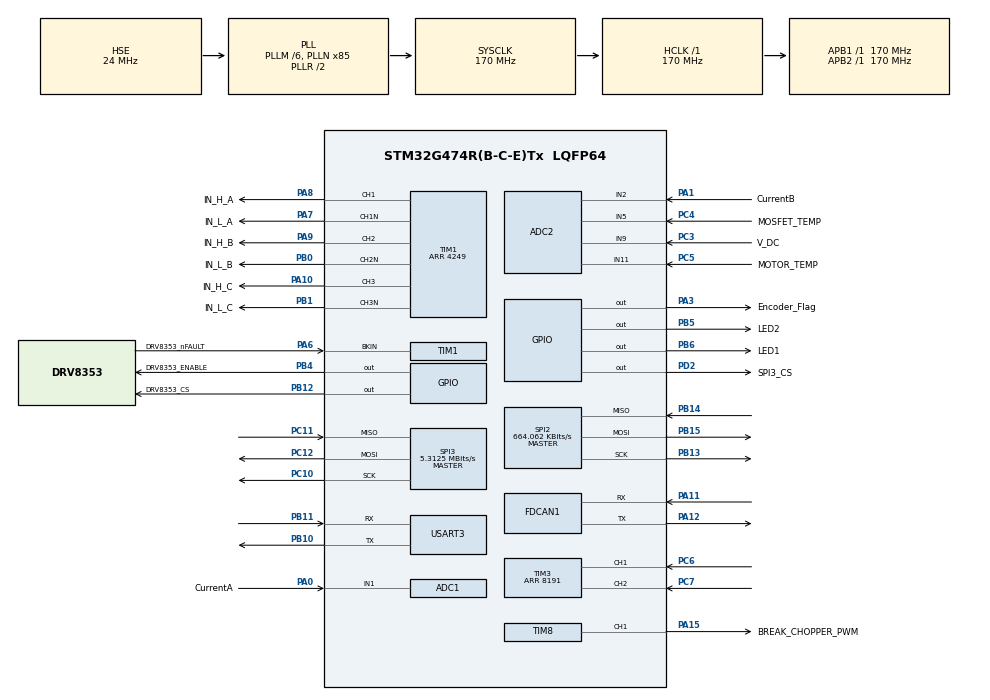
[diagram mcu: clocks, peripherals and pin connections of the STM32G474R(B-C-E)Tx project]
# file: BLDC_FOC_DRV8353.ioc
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ADC1.Channel-6\#ChannelRegularConversion=ADC_CHANNEL_VREFINT
ADC1.ClockPrescaler=ADC_CLOCK_ASYNC_DIV1
ADC1.DMAAccessModeView=DISABLED
ADC1.EnableInjectedConversion=ENABLE
ADC1.EnableRegularConversion=ENABLE
ADC1.ExternalTrigInjecConv=ADC_EXTERNALTRIGINJEC_T1_CC4
ADC1.InjNumberOfConversion=1
ADC1.InjectedChannel-3\#ChannelInjectedConversion=ADC_CHANNEL_1
ADC1.InjectedOffsetNumber-3\#ChannelInjectedConversion=ADC_OFFSET_NONE
ADC1.InjectedRank-3\#ChannelInjectedConversion=1
ADC1.InjectedSamplingTime-3\#ChannelInjectedConversion=ADC_SAMPLETIME_24CYCLES_5
ADC1.Mode=ADC_DUALMODE_INJECSIMULT
ADC1.NbrOfConversion=1
ADC1.NbrOfConversionFlag=1
ADC1.OffsetNumber-6\#ChannelRegularConversion=ADC_OFFSET_NONE
ADC1.Rank-6\#ChannelRegularConversion=1
ADC1.SamplingTime-6\#ChannelRegularConversion=ADC_SAMPLETIME_640CYCLES_5
ADC1.master=1
ADC2.Channel-0\#ChannelRegularConversion=ADC_CHANNEL_9
ADC2.Channel-2\#ChannelRegularConversion=ADC_CHANNEL_5
ADC2.Channel-3\#ChannelRegularConversion=ADC_CHANNEL_11
ADC2.ClockPrescaler=ADC_CLOCK_ASYNC_DIV1
ADC2.DMAAccessModeView=DISABLED
ADC2.DMAContinuousRequests=ENABLE
ADC2.EOCSelection=ADC_EOC_SEQ_CONV
ADC2.EnableInjectedConversion=ENABLE
ADC2.InjNumberOfConversion=1
ADC2.InjectedChannel-1\#ChannelInjectedConversion=ADC_CHANNEL_2
ADC2.InjectedOffsetNumber-1\#ChannelInjectedConversion=ADC_OFFSET_NONE
ADC2.InjectedRank-1\#ChannelInjectedConversion=1
ADC2.InjectedSamplingTime-1\#ChannelInjectedConversion=ADC_SAMPLETIME_24CYCLES_5
ADC2.Mode=ADC_DUALMODE_INJECSIMULT
ADC2.NbrOfConversion=3
ADC2.NbrOfConversionFlag=1
ADC2.OffsetNumber-0\#ChannelRegularConversion=ADC_OFFSET_NONE
ADC2.OffsetNumber-2\#ChannelRegularConversion=ADC_OFFSET_NONE
ADC2.OffsetNumber-3\#ChannelRegularConversion=ADC_OFFSET_NONE
ADC2.Rank-0\#ChannelRegularConversion=1
ADC2.Rank-2\#ChannelRegularConversion=2
ADC2.Rank-3\#ChannelRegularConversion=3
ADC2.SamplingTime-0\#ChannelRegularConversion=ADC_SAMPLETIME_24CYCLES_5
ADC2.SamplingTime-2\#ChannelRegularConversion=ADC_SAMPLETIME_24CYCLES_5
ADC2.SamplingTime-3\#ChannelRegularConversion=ADC_SAMPLETIME_24CYCLES_5
Dma.ADC2.2.Direction=DMA_PERIPH_TO_MEMORY
Dma.ADC2.2.EventEnable=DISABLE
Dma.ADC2.2.Instance=DMA1_Channel3
Dma.ADC2.2.MemDataAlignment=DMA_MDATAALIGN_HALFWORD
Dma.ADC2.2.MemInc=DMA_MINC_ENABLE
Dma.ADC2.2.Mode=DMA_CIRCULAR
Dma.ADC2.2.PeriphDataAlignment=DMA_PDATAALIGN_HALFWORD
Dma.ADC2.2.PeriphInc=DMA_PINC_DISABLE
Dma.ADC2.2.Polarity=HAL_DMAMUX_REQ_GEN_RISING
Dma.ADC2.2.Priority=DMA_PRIORITY_LOW
Dma.ADC2.2.RequestNumber=1
Dma.ADC2.2.SignalID=NONE
Dma.ADC2.2.SyncEnable=DISABLE
Dma.ADC2.2.SyncPolarity=HAL_DMAMUX_SYNC_NO_EVENT
Dma.ADC2.2.SyncRequestNumber=1
Dma.ADC2.2.SyncSignalID=NONE
Dma.Request0=SPI3_TX
Dma.Request1=SPI3_RX
Dma.Request2=ADC2
Dma.SPI3_RX.1.Direction=DMA_PERIPH_TO_MEMORY
Dma.SPI3_RX.1.EventEnable=DISABLE
Dma.SPI3_RX.1.Instance=DMA1_Channel2
Dma.SPI3_RX.1.MemDataAlignment=DMA_MDATAALIGN_BYTE
Dma.SPI3_RX.1.MemInc=DMA_MINC_ENABLE
Dma.SPI3_RX.1.Mode=DMA_NORMAL
Dma.SPI3_RX.1.PeriphDataAlignment=DMA_PDATAALIGN_BYTE
Dma.SPI3_RX.1.PeriphInc=DMA_PINC_DISABLE
Dma.SPI3_RX.1.Polarity=HAL_DMAMUX_REQ_GEN_RISING
Dma.SPI3_RX.1.Priority=DMA_PRIORITY_MEDIUM
Dma.SPI3_RX.1.RequestNumber=1
Dma.SPI3_RX.1.SignalID=NONE
Dma.SPI3_RX.1.SyncEnable=DISABLE
Dma.SPI3_RX.1.SyncPolarity=HAL_DMAMUX_SYNC_NO_EVENT
Dma.SPI3_RX.1.SyncRequestNumber=1
Dma.SPI3_RX.1.SyncSignalID=NONE
Dma.SPI3_TX.0.Direction=DMA_MEMORY_TO_PERIPH
Dma.SPI3_TX.0.EventEnable=DISABLE
Dma.SPI3_TX.0.Instance=DMA1_Channel1
Dma.SPI3_TX.0.MemDataAlignment=DMA_MDATAALIGN_BYTE
Dma.SPI3_TX.0.MemInc=DMA_MINC_ENABLE
Dma.SPI3_TX.0.Mode=DMA_NORMAL
Dma.SPI3_TX.0.PeriphDataAlignment=DMA_PDATAALIGN_BYTE
Dma.SPI3_TX.0.PeriphInc=DMA_PINC_DISABLE
Dma.SPI3_TX.0.Polarity=HAL_DMAMUX_REQ_GEN_RISING
Dma.SPI3_TX.0.Priority=DMA_PRIORITY_MEDIUM
Dma.SPI3_TX.0.RequestNumber=1
Dma.SPI3_TX.0.SignalID=NONE
Dma.SPI3_TX.0.SyncEnable=DISABLE
Dma.SPI3_TX.0.SyncPolarity=HAL_DMAMUX_SYNC_NO_EVENT
Dma.SPI3_TX.0.SyncRequestNumber=1
Dma.SPI3_TX.0.SyncSignalID=NONE
FDCAN1.CalculateBaudRateNominal=500000
FDCAN1.CalculateTimeBitNominal=2000
FDCAN1.CalculateTimeQuantumNominal=100.0
FDCAN1.NominalPrescaler=17
FDCAN1.NominalTimeSeg1=17
FDCAN1.NominalTimeSeg2=2
Mcu.Family=STM32G4
Mcu.Name=STM32G474R(B-C-E)Tx
Mcu.Package=LQFP64
NVIC.ADC1_2_IRQn=true\:0\:0\:true\:false\:true\:true\:true\:true
NVIC.DMA1_Channel1_IRQn=true\:1\:0\:true\:false\:true\:false\:true\:true
NVIC.DMA1_Channel2_IRQn=true\:1\:0\:true\:false\:true\:false\:true\:true
NVIC.DMA1_Channel3_IRQn=true\:4\:0\:true\:false\:true\:false\:true\:true
NVIC.FDCAN1_IT0_IRQn=true\:6\:0\:true\:false\:true\:true\:true\:true
NVIC.PriorityGroup=NVIC_PRIORITYGROUP_4
NVIC.TIM1_BRK_TIM15_IRQn=true\:0\:0\:false\:false\:true\:true\:true\:true
NVIC.TIM2_IRQn=true\:3\:0\:true\:false\:true\:true\:true\:true
NVIC.TIM4_IRQn=true\:4\:0\:true\:false\:true\:true\:true\:true
NVIC.TIM5_IRQn=true\:5\:0\:true\:false\:true\:true\:true\:true
NVIC.TIM8_UP_IRQn=true\:5\:0\:true\:false\:true\:true\:true\:true
NVIC.USART3_IRQn=true\:3\:0\:true\:false\:true\:true\:true\:true
PA0.GPIO_Label=CurrentA
PA0.Mode=IN1-Single-Ended
PA0.Signal=ADC1_IN1
PA1.GPIO_Label=CurrentB
PA1.Mode=IN2-Single-Ended
PA1.Signal=ADC2_IN2
PA10.GPIO_Label=IN_H_C
PA10.Signal=S_TIM1_CH3
PA11.Mode=FDCAN_Activate
PA11.Signal=FDCAN1_RX
PA12.Mode=FDCAN_Activate
PA12.Signal=FDCAN1_TX
PA13.Mode=Trace_Asynchronous_SW
PA13.Signal=SYS_JTMS-SWDIO
PA14.Mode=Trace_Asynchronous_SW
PA14.Signal=SYS_JTCK-SWCLK
PA15.GPIO_Label=BREAK_CHOPPER_PWM
PA15.Signal=S_TIM8_CH1
PA3.GPIO_Label=Encoder_Flag
PA3.Signal=GPIO_Output
PA6.GPIO_Label=DRV8353_nFAULT
PA6.Mode=Activate-Break-Input
PA6.Signal=TIM1_BKIN
PA7.GPIO_Label=IN_L_A
PA7.Mode=PWM Generation1 CH1 CH1N
PA7.Signal=TIM1_CH1N
PA8.GPIO_Label=IN_H_A
PA8.Signal=S_TIM1_CH1
PA9.GPIO_Label=IN_H_B
PA9.Signal=S_TIM1_CH2
PB0.GPIO_Label=IN_L_B
PB0.Mode=PWM Generation2 CH2 CH2N
PB0.Signal=TIM1_CH2N
PB1.GPIO_Label=IN_L_C
PB1.Mode=PWM Generation3 CH3 CH3N
PB1.Signal=TIM1_CH3N
PB10.Mode=Asynchronous
PB10.Signal=USART3_TX
PB11.Mode=Asynchronous
PB11.Signal=USART3_RX
PB12.GPIO_Label=DRV8353_CS
PB12.PinState=GPIO_PIN_SET
PB12.Signal=GPIO_Output
PB13.Mode=Full_Duplex_Master
PB13.Signal=SPI2_SCK
PB14.Mode=Full_Duplex_Master
PB14.Signal=SPI2_MISO
PB15.Mode=Full_Duplex_Master
PB15.Signal=SPI2_MOSI
PB3.Mode=Trace_Asynchronous_SW
PB3.Signal=SYS_JTDO-SWO
PB4.GPIO_Label=DRV8353_ENABLE
PB4.Signal=GPIO_Output
PB5.GPIO_Label=LED2
PB5.Signal=GPIO_Output
PB6.GPIO_Label=LED1
PB6.Signal=GPIO_Output
PC10.Mode=Full_Duplex_Master
PC10.Signal=SPI3_SCK
PC11.Mode=Full_Duplex_Master
PC11.Signal=SPI3_MISO
PC12.Mode=Full_Duplex_Master
PC12.Signal=SPI3_MOSI
PC3.GPIO_Label=V_DC
PC3.Mode=IN9-Single-Ended
PC3.Signal=ADC2_IN9
PC4.GPIO_Label=MOSFET_TEMP
PC4.Mode=IN5-Single-Ended
PC4.Signal=ADC2_IN5
PC5.GPIO_Label=MOTOR_TEMP
PC5.Mode=IN11-Single-Ended
PC5.Signal=ADC2_IN11
PC6.Signal=S_TIM3_CH1
PC7.Signal=S_TIM3_CH2
PD2.GPIO_Label=SPI3_CS
PD2.Signal=GPIO_Output
PF0-OSC_IN.Mode=HSE-External-Oscillator
PF0-OSC_IN.Signal=RCC_OSC_IN
PF1-OSC_OUT.Mode=HSE-External-Oscillator
PF1-OSC_OUT.Signal=RCC_OSC_OUT
ProjectManager.HeapSize=0x200
ProjectManager.StackSize=0x400
ProjectManager.TargetToolchain=CMake
RCC.ADC12CLockSelection=RCC_ADC12CLKSOURCE_PLL
RCC.ADC12Freq_Value=42500000
RCC.ADC345Freq_Value=170000000
RCC.AHBFreq_Value=170000000
RCC.APB1Freq_Value=170000000
RCC.APB1TimFreq_Value=170000000
RCC.APB2Freq_Value=170000000
RCC.APB2TimFreq_Value=170000000
RCC.CortexFreq_Value=170000000
RCC.EXTERNAL_CLOCK_VALUE=12288000
RCC.HCLKFreq_Value=170000000
RCC.HSE_VALUE=24000000
RCC.HSI48_VALUE=48000000
RCC.HSI_VALUE=16000000
RCC.LSE_VALUE=32768
RCC.PLLM=RCC_PLLM_DIV6
RCC.PLLN=85
RCC.PLLP=RCC_PLLP_DIV8
RCC.PLLSourceVirtual=RCC_PLLSOURCE_HSE
RCC.SYSCLKFreq_VALUE=170000000
RCC.SYSCLKSource=RCC_SYSCLKSOURCE_PLLCLK
RCC.USBFreq_Value=170000000
RCC.VCOOutputFreq_Value=340000000
SH.S_TIM1_CH1.0=TIM1_CH1,PWM Generation1 CH1 CH1N
SH.S_TIM1_CH2.0=TIM1_CH2,PWM Generation2 CH2 CH2N
SH.S_TIM1_CH3.0=TIM1_CH3,PWM Generation3 CH3 CH3N
SH.S_TIM3_CH1.0=TIM3_CH1,Encoder_Interface
SH.S_TIM3_CH2.0=TIM3_CH2,Encoder_Interface
SH.S_TIM8_CH1.0=TIM8_CH1,PWM Generation1 CH1
SPI2.BaudRatePrescaler=SPI_BAUDRATEPRESCALER_256
SPI2.CLKPhase=SPI_PHASE_2EDGE
SPI2.CalculateBaudRate=664.062 KBits/s
SPI2.DataSize=SPI_DATASIZE_16BIT
SPI2.Direction=SPI_DIRECTION_2LINES
SPI2.Mode=SPI_MODE_MASTER
SPI2.VirtualType=VM_MASTER
SPI3.BaudRatePrescaler=SPI_BAUDRATEPRESCALER_32
SPI3.CLKPhase=SPI_PHASE_2EDGE
SPI3.CalculateBaudRate=5.3125 MBits/s
SPI3.DataSize=SPI_DATASIZE_8BIT
SPI3.Direction=SPI_DIRECTION_2LINES
SPI3.Mode=SPI_MODE_MASTER
SPI3.VirtualType=VM_MASTER
TIM1.AutomaticOutput=TIM_AUTOMATICOUTPUT_DISABLE
TIM1.BreakFilter=3
TIM1.BreakPolarity=TIM_BREAKPOLARITY_HIGH
TIM1.BreakState=TIM_BREAK_ENABLE
TIM1.Channel-PWM\ Generation1\ CH1\ CH1N=TIM_CHANNEL_1
TIM1.Channel-PWM\ Generation2\ CH2\ CH2N=TIM_CHANNEL_2
TIM1.Channel-PWM\ Generation3\ CH3\ CH3N=TIM_CHANNEL_3
TIM1.Channel-PWM\ Generation4\ No\ Output=TIM_CHANNEL_4
TIM1.CounterMode=TIM_COUNTERMODE_CENTERALIGNED2
TIM1.DeadTime=34
TIM1.LockLevel=TIM_LOCKLEVEL_OFF
TIM1.OCMode_PWM-PWM\ Generation4\ No\ Output=TIM_OCMODE_PWM2
TIM1.OffStateIDLEMode=TIM_OSSI_DISABLE
TIM1.PeriodNoDither=4249
TIM1.PulseNoDither_1=0
TIM1.PulseNoDither_2=0
TIM1.PulseNoDither_3=0
TIM1.PulseNoDither_4=4100
TIM1.SourceBRKDigInputPolarity=TIM_BREAKINPUTSOURCE_POLARITY_LOW
TIM1.TIM_MasterOutputTrigger=TIM_TRGO_UPDATE
TIM1.TIM_MasterOutputTrigger2=TIM_TRGO2_OC4REF
TIM1.TIM_MasterSlaveMode=TIM_MASTERSLAVEMODE_DISABLE
TIM2.PeriodNoDither=39
TIM3.EncoderMode=TIM_ENCODERMODE_TI12
TIM3.IC1Filter=3
TIM3.IC2Filter=3
TIM3.PeriodNoDither=8191
TIM4.AutoReloadPreload=TIM_AUTORELOAD_PRELOAD_ENABLE
TIM4.PeriodNoDither=9999
TIM4.Prescaler=169
TIM5.PeriodNoDither=199
TIM8.Channel-PWM\ Generation1\ CH1=TIM_CHANNEL_1
TIM8.PeriodNoDither=39
USART3.VirtualMode-Asynchronous=VM_ASYNC
VP_ADC1_Vref_Input.Mode=IN-Vrefint
VP_SYS_VS_DBSignals.Mode=DisableDeadBatterySignals
VP_TIM1_VS_ClockSourceINT.Mode=Internal
VP_TIM1_VS_no_output4.Mode=PWM Generation4 No Output
VP_TIM2_VS_ClockSourceITR.Mode=TriggerSource_ITR0
VP_TIM2_VS_ControllerModeClock.Mode=Clock Mode
VP_TIM4_VS_ClockSourceINT.Mode=Internal
VP_TIM5_VS_ClockSourceITR.Mode=TriggerSource_ITR0
VP_TIM5_VS_ControllerModeClock.Mode=Clock Mode
VP_TIM8_VS_ClockSourceITR.Mode=TriggerSource_ITR0
VP_TIM8_VS_ControllerModeClock.Mode=Clock Mode
board=custom

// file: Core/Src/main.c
/* USER CODE BEGIN Header */
/**
  ******************************************************************************
  * @file           : main.c
  * @brief          : Main program body
  ******************************************************************************
  * @attention
  *
  * Copyright (c) 2026 STMicroelectronics.
  * All rights reserved.
  *
  * This software is licensed under terms that can be found in the LICENSE file
  * in the root directory of this software component.
  * If no LICENSE file comes with this software, it is provided AS-IS.
  *
  ******************************************************************************
  */
/* USER CODE END Header */
#include "main.h"
#include "adc.h"
#include "dma.h"
#include "fdcan.h"
#include "spi.h"
#include "tim.h"
#include "usart.h"
#include "gpio.h"

/* USER CODE BEGIN Includes */
#include "commander.h"
#include "motor_control.h"
#include "board.h"
#include "powerstage.h"
#include "motor_control_faults.h"

#if defined(USE_CAN_INTERFACE)

  #include "can_interface.h"

#endif

#if defined(TEST_MODE)

  #include "motor_alignment.h"
  #include "stdio.h"

#endif

// #include "encoder_incremental.h"
// #include "math_consts.h"

// #ifndef __FAST_MATH__
//   #error "FAST_MATH must be enabled in the project settings"
// #endif

/* USER CODE END Includes */

/* USER CODE BEGIN PV */

#if defined(USE_CAN_INTERFACE)

  extern volatile bool g_can_heartbeat_flag;
  extern volatile bool g_can_telemetry_flag;
  extern volatile bool g_can_cmd_received_flag;

#endif

#if defined(USE_CMD_INTERFACE)

  extern volatile bool g_cmd_flag;

#endif

BoardHandleTypeDef board = {
  .type                 = BOARD_DRV8353,
  .powerstage.pwm_mode  = POWERSTAGE_PWM_MODE_3PWM,
  .htim_pwm             = &htim1,
  .htim_speed           = &htim2,
  .htim_enc             = &htim3,
  .htim_slow_loop       = &htim4,
  .htim_pos             = &htim5,
  .hadc_currA           = (ADC_InjectedChannel_t){.hadc = &hadc1, .rank = ADC_INJECTED_RANK_1},
  .hadc_currB           = (ADC_InjectedChannel_t){.hadc = &hadc2, .rank = ADC_INJECTED_RANK_2},
  .hadc_vdc             = &hadc2,
  .hspi_drv             = &hspi2,
  .hspi_enc             = &hspi3,
  .huart_com            = &huart3,
  .htim_brake_chopper   = &htim8,
  .encoder_type         = ENCODER_INCREMENTAL,
};

#if defined(USE_CAN_INTERFACE)

  static CAN_Slave_Callbacks_t can_callbacks =
  {
      .start = MotorControl_Start,
      .stop = MotorControl_Stop,

      .set_speed = MotorControl_SetSpeed,
      .set_torque = MotorControl_SetTorque_Iq,

      .reboot = MotorControl_Reboot,

      .get_heartbeat = MotorControl_GetCANHeartbeat,
      .get_telemetry = MotorControl_GetCANTelemetry,

      .clear_faults = MotorControl_ClearFaults,

      .get_faults = MotorControl_GetCurrentFaults,

      .set_speed_limit = MotorControl_SetSpeedLimit,
      .set_torque_limit_A = MotorControl_SetTorqueLimit_A,
      .set_torque_limit_Nm = MotorControl_SetTorqueLimit_Nm,

      .set_watchdog_timeout = MotorControl_SetWatchdog
  };

#endif

#if defined(TEST_MODE)

  volatile uint32_t debug_enc_raw_cnt = 0;
  volatile float debug_mech_angle_rad = 0.0f;
  volatile float debug_mech_angle_deg = 0.0f;

  int fault_read_cnt = 0;

#endif

// TEST END

/* USER CODE END PV */

void SystemClock_Config(void);

/* USER CODE BEGIN 0 */

int _write(int file, char *ptr, int len)
{
    uint8_t cr = '\r';
    for (int i = 0; i < len; i++)
    {
        if (ptr[i] == '\n'){
          HAL_UART_Transmit(&huart3, &cr, 1, HAL_MAX_DELAY);
          // ITM_SendChar('\r');
        }
        // ITM_SendChar(ptr[i]);
        HAL_UART_Transmit(&huart3, (uint8_t *)&ptr[i], 1, HAL_MAX_DELAY);
    }
    return len;
}

/* USER CODE END 0 */

int main(void)
{

  /* MCU Configuration--------------------------------------------------------*/

  /* Reset of all peripherals, Initializes the Flash interface and the Systick. */
  HAL_Init();

  /* Configure the system clock */
  SystemClock_Config();

  /* Initialize all configured peripherals */
  MX_GPIO_Init();
  MX_DMA_Init();
  MX_TIM1_Init();
  MX_SPI2_Init();
  MX_SPI3_Init();
  MX_ADC1_Init();
  MX_USART3_UART_Init();
  MX_TIM2_Init();
  MX_TIM3_Init();
  MX_TIM4_Init();
  MX_TIM5_Init();
  MX_ADC2_Init();
  MX_FDCAN1_Init();
  MX_TIM8_Init();
  /* USER CODE BEGIN 2 */

  // Controller initialization BEGIN

  Board_CalibrateADC(&board);

  Board_Init(&board);

  #ifndef TEST_MODE

    MotorControl_Init(&board); // Off during tests

  #endif

  #if defined(USE_CMD_INTERFACE)

    Commander_Init(&board);

  #endif

  #if defined(USE_CAN_INTERFACE)

    CAN_Slave_Init(&hfdcan1, SLAVE_NODE_ID, &can_callbacks);

  #endif

  // Controller initialization END

  /* USER CODE END 2 */

  /* Infinite loop */
  /* USER CODE BEGIN WHILE */
  while (1)
  {

    #if defined(TEST_MODE)
      // TEST BEGIN
      Motor_Motion_Test();
      HAL_Delay(1);

      if (++fault_read_cnt >= 1000) {
          fault_read_cnt = 0;
          PowerStage_CheckFaults(&board.powerstage);
      }

      // debug_enc_raw_cnt = __HAL_TIM_GET_COUNTER(&htim3);
      // debug_mech_angle_rad = EncoderIncremental_GetMechanicalAngle();
      // debug_mech_angle_deg = debug_mech_angle_rad * (180.0f / (float)M_PI);

      // HAL_Delay(5);
    #endif

    MotorControl_OnFaultDetected(); // Flagi ustawiane w przerwaniu od TIM1 Break

    // Obsługa CLI
    #if defined(USE_CMD_INTERFACE)

      if (g_cmd_flag)
      {
        g_cmd_flag = false;
        Commander_Process();
      }

    #endif

    // Obsługa CAN
    #if defined(USE_CAN_INTERFACE)

      if (g_can_heartbeat_flag)
      {
          g_can_heartbeat_flag = false;
          if (HAL_FDCAN_GetTxFifoFreeLevel(&hfdcan1) > 0)
          {
              CAN_Slave_Heartbeat();
          }
      }
      if (g_can_telemetry_flag)
      {
          g_can_telemetry_flag = false;
          if (HAL_FDCAN_GetTxFifoFreeLevel(&hfdcan1) > 0)
          {
              CAN_Slave_Telemetry();
          }
      }
      if (g_can_cmd_received_flag)
      {
          g_can_cmd_received_flag = false;
          CAN_Slave_PrintLastCommand();
      }

    #endif

    /* USER CODE END WHILE */

  }
}

void SystemClock_Config(void)
{
  RCC_OscInitTypeDef RCC_OscInitStruct = {0};
  RCC_ClkInitTypeDef RCC_ClkInitStruct = {0};

  /** Configure the main internal regulator output voltage
  */
  HAL_PWREx_ControlVoltageScaling(PWR_REGULATOR_VOLTAGE_SCALE1_BOOST);

  /** Initializes the RCC Oscillators according to the specified parameters
  * in the RCC_OscInitTypeDef structure.
  */
  RCC_OscInitStruct.OscillatorType = RCC_OSCILLATORTYPE_HSE;
  RCC_OscInitStruct.HSEState = RCC_HSE_ON;
  RCC_OscInitStruct.PLL.PLLState = RCC_PLL_ON;
  RCC_OscInitStruct.PLL.PLLSource = RCC_PLLSOURCE_HSE;
  RCC_OscInitStruct.PLL.PLLM = RCC_PLLM_DIV6;
  RCC_OscInitStruct.PLL.PLLN = 85;
  RCC_OscInitStruct.PLL.PLLP = RCC_PLLP_DIV8;
  RCC_OscInitStruct.PLL.PLLQ = RCC_PLLQ_DIV2;
  RCC_OscInitStruct.PLL.PLLR = RCC_PLLR_DIV2;
  if (HAL_RCC_OscConfig(&RCC_OscInitStruct) != HAL_OK)
  {
    Error_Handler();
  }

  /** Initializes the CPU, AHB and APB buses clocks
  */
  RCC_ClkInitStruct.ClockType = RCC_CLOCKTYPE_HCLK|RCC_CLOCKTYPE_SYSCLK
                              |RCC_CLOCKTYPE_PCLK1|RCC_CLOCKTYPE_PCLK2;
  RCC_ClkInitStruct.SYSCLKSource = RCC_SYSCLKSOURCE_PLLCLK;
  RCC_ClkInitStruct.AHBCLKDivider = RCC_SYSCLK_DIV1;
  RCC_ClkInitStruct.APB1CLKDivider = RCC_HCLK_DIV1;
  RCC_ClkInitStruct.APB2CLKDivider = RCC_HCLK_DIV1;

  if (HAL_RCC_ClockConfig(&RCC_ClkInitStruct, FLASH_LATENCY_4) != HAL_OK)
  {
    Error_Handler();
  }
}

void Error_Handler(void)
{
  __disable_irq();
  while (1)
  {
  }
}
